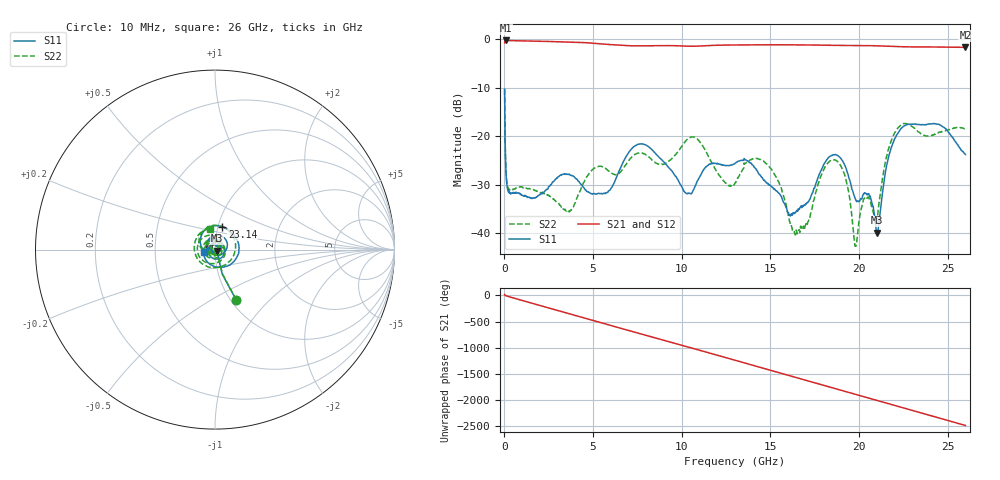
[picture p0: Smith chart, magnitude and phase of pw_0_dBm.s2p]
!Keysight Technologies,N5227A,US51270436,A.10.64.03
!Date: Wednesday, October 23, 2019 15:14:42
!Correction: S33(Full 2 Port(3,4))
!S43(Full 2 Port(3,4))
!S34(Full 2 Port(3,4))
!S44(Full 2 Port(3,4))
!S2P File: Measurements: S33, S43, S34, S44:
# Hz S  dB  R 50
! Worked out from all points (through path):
!   2000 points, 10 MHz to 26 GHz, reference 50 ohm
!   highest |S21| = -0.22 dB at 88.01 MHz (marker M1); lowest = -1.6 dB at 26 GHz (marker M2)
!   group delay of S21, straight-line fit = 265 ps
!   lowest |S11| = -39.8 dB at 21.01 GHz (marker M3), VSWR 1.02, Z = 50.9 - j0.562 ohm
!   |S11| at or under -10 dB: start of sweep to end of sweep
!   |S22| runs from -42.6 to -10.3 dB; largest |S21 - S12| = 0.00094
!   S11 on the Smith chart (normalised r, x): 10 MHz: 1.06, -0.66; 23.14 GHz: 1.05, +0.27; 26 GHz: 0.88, -0.02
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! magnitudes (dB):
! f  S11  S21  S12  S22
! 10 MHz  -10.3  -0.7  -0.7  -10.3
! 88.01 MHz  -27.3  -0.2  -0.2  -27.0
! 335 MHz  -31.7  -0.2  -0.2  -31.0
! 3.585 GHz  -27.9  -0.5  -0.5  -35.4
! 4.353 GHz  -30.0  -0.6  -0.6  -30.4
! 5.809 GHz  -31.6  -1.0  -1.0  -26.9
! 7.512 GHz  -21.7  -1.3  -1.3  -23.5
! 8.682 GHz  -24.2  -1.3  -1.3  -25.7
! 10.7 GHz  -30.7  -1.4  -1.4  -20.1
! 13.01 GHz  -25.5  -1.2  -1.2  -29.6
! 14.35 GHz  -27.8  -1.1  -1.1  -24.7
! 15.48 GHz  -31.7  -1.1  -1.1  -29.5
! 16.31 GHz  -35.9  -1.1  -1.1  -39.5
! 17.34 GHz  -31.8  -1.2  -1.2  -35.0
! 18.59 GHz  -23.8  -1.2  -1.2  -24.8
! 19.25 GHz  -26.4  -1.3  -1.3  -28.7
! 19.8 GHz  -32.9  -1.3  -1.3  -42.6
! 20.34 GHz  -31.7  -1.3  -1.3  -32.5
! 21.01 GHz  -39.8  -1.3  -1.3  -37.4
! 21.67 GHz  -24.1  -1.4  -1.4  -22.6
! 23.14 GHz  -17.5  -1.6  -1.6  -18.3
! 26 GHz  -23.7  -1.6  -1.6  -18.4
